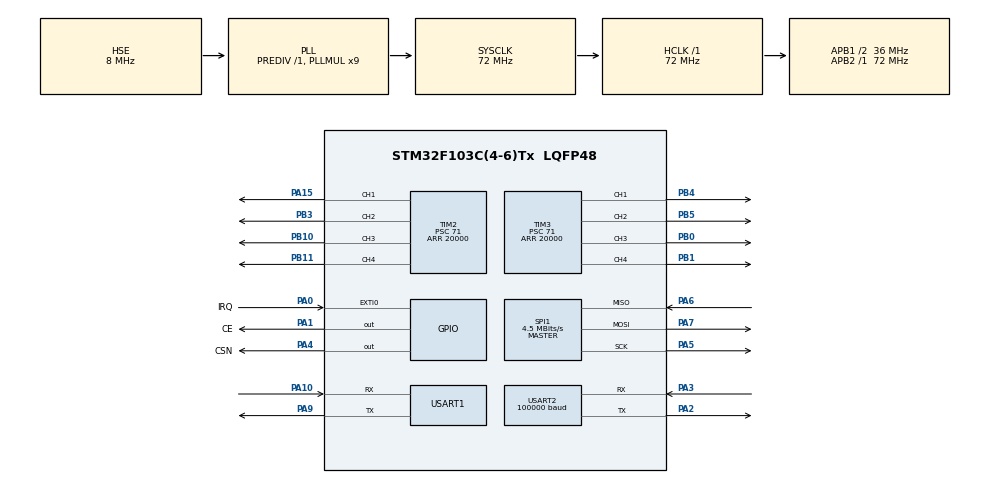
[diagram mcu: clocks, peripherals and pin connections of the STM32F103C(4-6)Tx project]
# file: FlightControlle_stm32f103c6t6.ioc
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Dma.Request0=USART2_RX
Dma.Request1=USART1_RX
Dma.Request2=USART1_TX
Dma.USART1_RX.1.Direction=DMA_PERIPH_TO_MEMORY
Dma.USART1_RX.1.Instance=DMA1_Channel5
Dma.USART1_RX.1.MemDataAlignment=DMA_MDATAALIGN_BYTE
Dma.USART1_RX.1.MemInc=DMA_MINC_ENABLE
Dma.USART1_RX.1.Mode=DMA_NORMAL
Dma.USART1_RX.1.PeriphDataAlignment=DMA_PDATAALIGN_BYTE
Dma.USART1_RX.1.PeriphInc=DMA_PINC_DISABLE
Dma.USART1_RX.1.Priority=DMA_PRIORITY_LOW
Dma.USART1_TX.2.Direction=DMA_MEMORY_TO_PERIPH
Dma.USART1_TX.2.Instance=DMA1_Channel4
Dma.USART1_TX.2.MemDataAlignment=DMA_MDATAALIGN_BYTE
Dma.USART1_TX.2.MemInc=DMA_MINC_ENABLE
Dma.USART1_TX.2.Mode=DMA_NORMAL
Dma.USART1_TX.2.PeriphDataAlignment=DMA_PDATAALIGN_BYTE
Dma.USART1_TX.2.PeriphInc=DMA_PINC_DISABLE
Dma.USART1_TX.2.Priority=DMA_PRIORITY_LOW
Dma.USART2_RX.0.Direction=DMA_PERIPH_TO_MEMORY
Dma.USART2_RX.0.Instance=DMA1_Channel6
Dma.USART2_RX.0.MemDataAlignment=DMA_MDATAALIGN_BYTE
Dma.USART2_RX.0.MemInc=DMA_MINC_ENABLE
Dma.USART2_RX.0.Mode=DMA_CIRCULAR
Dma.USART2_RX.0.PeriphDataAlignment=DMA_PDATAALIGN_BYTE
Dma.USART2_RX.0.PeriphInc=DMA_PINC_DISABLE
Dma.USART2_RX.0.Priority=DMA_PRIORITY_LOW
Mcu.Family=STM32F1
Mcu.Name=STM32F103C(4-6)Tx
Mcu.Package=LQFP48
NVIC.DMA1_Channel4_IRQn=true\:0\:0\:false\:false\:true\:false\:true
NVIC.DMA1_Channel5_IRQn=true\:0\:0\:false\:false\:true\:false\:true
NVIC.DMA1_Channel6_IRQn=true\:0\:0\:false\:false\:true\:false\:true
NVIC.EXTI0_IRQn=true\:0\:0\:false\:false\:true\:true\:true
NVIC.PriorityGroup=NVIC_PRIORITYGROUP_4
NVIC.USART1_IRQn=true\:0\:0\:false\:false\:true\:true\:true
PA0-WKUP.GPIO_Label=IRQ
PA0-WKUP.GPIO_ModeDefaultEXTI=GPIO_MODE_IT_FALLING
PA0-WKUP.Signal=GPXTI0
PA1.GPIO_Label=CE
PA1.Signal=GPIO_Output
PA10.Mode=Asynchronous
PA10.Signal=USART1_RX
PA13.Mode=Serial_Wire
PA13.Signal=SYS_JTMS-SWDIO
PA14.Mode=Serial_Wire
PA14.Signal=SYS_JTCK-SWCLK
PA15.Signal=S_TIM2_CH1_ETR
PA2.Mode=Asynchronous
PA2.Signal=USART2_TX
PA3.Mode=Asynchronous
PA3.Signal=USART2_RX
PA4.GPIO_Label=CSN
PA4.Signal=GPIO_Output
PA5.Mode=Full_Duplex_Master
PA5.Signal=SPI1_SCK
PA6.Mode=Full_Duplex_Master
PA6.Signal=SPI1_MISO
PA7.Mode=Full_Duplex_Master
PA7.Signal=SPI1_MOSI
PA9.Mode=Asynchronous
PA9.Signal=USART1_TX
PB0.Signal=S_TIM3_CH3
PB1.Signal=S_TIM3_CH4
PB10.Signal=S_TIM2_CH3
PB11.Signal=S_TIM2_CH4
PB3.Signal=S_TIM2_CH2
PB4.Signal=S_TIM3_CH1
PB5.Signal=S_TIM3_CH2
PD0-OSC_IN.Mode=HSE-External-Oscillator
PD0-OSC_IN.Signal=RCC_OSC_IN
PD1-OSC_OUT.Mode=HSE-External-Oscillator
PD1-OSC_OUT.Signal=RCC_OSC_OUT
ProjectManager.HeapSize=0x200
ProjectManager.StackSize=0x400
ProjectManager.TargetToolchain=STM32CubeIDE
RCC.AHBFreq_Value=72000000
RCC.APB1CLKDivider=RCC_HCLK_DIV2
RCC.APB1Freq_Value=36000000
RCC.APB1TimFreq_Value=72000000
RCC.APB2Freq_Value=72000000
RCC.APB2TimFreq_Value=72000000
RCC.HCLKFreq_Value=72000000
RCC.PLLMUL=RCC_PLL_MUL9
RCC.PLLSourceVirtual=RCC_PLLSOURCE_HSE
RCC.SYSCLKFreq_VALUE=72000000
RCC.SYSCLKSource=RCC_SYSCLKSOURCE_PLLCLK
RCC.USBFreq_Value=72000000
SH.S_TIM2_CH1_ETR.0=TIM2_CH1,PWM Generation1 CH1
SH.S_TIM2_CH2.0=TIM2_CH2,PWM Generation2 CH2
SH.S_TIM2_CH3.0=TIM2_CH3,PWM Generation3 CH3
SH.S_TIM2_CH4.0=TIM2_CH4,PWM Generation4 CH4
SH.S_TIM3_CH1.0=TIM3_CH1,PWM Generation1 CH1
SH.S_TIM3_CH2.0=TIM3_CH2,PWM Generation2 CH2
SH.S_TIM3_CH3.0=TIM3_CH3,PWM Generation3 CH3
SH.S_TIM3_CH4.0=TIM3_CH4,PWM Generation4 CH4
SPI1.BaudRatePrescaler=SPI_BAUDRATEPRESCALER_16
SPI1.CalculateBaudRate=4.5 MBits/s
SPI1.Direction=SPI_DIRECTION_2LINES
SPI1.Mode=SPI_MODE_MASTER
SPI1.VirtualType=VM_MASTER
TIM2.Channel-PWM\ Generation1\ CH1=TIM_CHANNEL_1
TIM2.Channel-PWM\ Generation2\ CH2=TIM_CHANNEL_2
TIM2.Channel-PWM\ Generation3\ CH3=TIM_CHANNEL_3
TIM2.Channel-PWM\ Generation4\ CH4=TIM_CHANNEL_4
TIM2.Period=20000
TIM2.Prescaler=71
TIM2.Pulse-PWM\ Generation1\ CH1=1500
TIM2.Pulse-PWM\ Generation2\ CH2=1500
TIM2.Pulse-PWM\ Generation3\ CH3=1500
TIM2.Pulse-PWM\ Generation4\ CH4=1500
TIM3.Channel-PWM\ Generation1\ CH1=TIM_CHANNEL_1
TIM3.Channel-PWM\ Generation2\ CH2=TIM_CHANNEL_2
TIM3.Channel-PWM\ Generation3\ CH3=TIM_CHANNEL_3
TIM3.Channel-PWM\ Generation4\ CH4=TIM_CHANNEL_4
TIM3.Period=20000
TIM3.Prescaler=71
TIM3.Pulse-PWM\ Generation1\ CH1=1500
TIM3.Pulse-PWM\ Generation2\ CH2=1500
TIM3.Pulse-PWM\ Generation3\ CH3=1500
TIM3.Pulse-PWM\ Generation4\ CH4=1500
USART1.VirtualMode=VM_ASYNC
USART2.BaudRate=100000
USART2.Mode=MODE_RX
USART2.Parity=PARITY_EVEN
USART2.StopBits=STOPBITS_2
USART2.VirtualMode=VM_ASYNC
board=custom

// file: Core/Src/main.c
/* USER CODE BEGIN Header */
/**
 ******************************************************************************
 * @file           : main.c
 * @brief          : Main program body
 ******************************************************************************
 * @attention
 *
 * Copyright (c) 2022 STMicroelectronics.
 * All rights reserved.
 *
 * This software is licensed under terms that can be found in the LICENSE file
 * in the root directory of this software component.
 * If no LICENSE file comes with this software, it is provided AS-IS.
 *
 ******************************************************************************
 */
/* USER CODE END Header */
#include "main.h"

/* USER CODE BEGIN Includes */
#include <string.h>
#include <stdio.h>
#include "SBUS.h"
#include "RF24.h"
/* USER CODE END Includes */

/* USER CODE BEGIN PTD */
struct {
	uint16_t Pitch_PWM;
	uint16_t Roll_PWM;
} RecieveStruct;

/* USER CODE END PTD */

SPI_HandleTypeDef hspi1;

TIM_HandleTypeDef htim2;
TIM_HandleTypeDef htim3;

UART_HandleTypeDef huart1;
UART_HandleTypeDef huart2;
DMA_HandleTypeDef hdma_usart1_rx;
DMA_HandleTypeDef hdma_usart1_tx;
DMA_HandleTypeDef hdma_usart2_rx;

/* USER CODE BEGIN PV */

_Bool controlMode = 0;

char outbuf[30] = { 0, };
uint32_t time = 0;

uint16_t failsafe_status;
uint8_t buf[25];
uint16_t CH[18];
uint32_t sbus_packet_time = 0;

uint8_t remsg = 0;
uint8_t nrf_data[32] = { 0, }; // буфер указываем максимального размера
uint8_t count_payload;

uint8_t uart_mode = 0;

/* USER CODE END PV */

void SystemClock_Config(void);
static void MX_GPIO_Init(void);
static void MX_DMA_Init(void);
static void MX_USART1_UART_Init(void);
static void MX_USART2_UART_Init(void);
static void MX_SPI1_Init(void);
static void MX_TIM2_Init(void);
static void MX_TIM3_Init(void);

/* USER CODE BEGIN 0 */

void HAL_UART_RxCpltCallback(UART_HandleTypeDef *huart) {

	if (huart == &huart2) {
		failsafe_status = CalculateSBUS(buf, CH);
		sbus_packet_time = HAL_GetTick();

		/*Decide manual/autopilot*/
		if (CH[4] > 1300) {
			controlMode = 1;
		} else {
			controlMode = 0;
		}
	}
	if (huart == &huart1) {
		uint8_t ack[32] = {0, };
		switch(uart_mode){
		case 1:
			HAL_UART_Transmit_DMA(&huart1, nrf_data, 32);
			uart_mode = 0;
			break;
		default:
			ack[0] = 4;
		HAL_UART_Transmit_DMA(&huart1, ack, 32);
		break;
		}

	}

}

void HAL_UART_TxCpltCallback(UART_HandleTypeDef *huart) {
	if (huart == &huart1) {
		HAL_UART_Receive_DMA(&huart1, &RecieveStruct, sizeof(RecieveStruct));
	}
}

/* USER CODE END 0 */

int main(void)
{

  /* MCU Configuration--------------------------------------------------------*/

  /* Reset of all peripherals, Initializes the Flash interface and the Systick. */
  HAL_Init();

  /* Configure the system clock */
  SystemClock_Config();

  /* Initialize all configured peripherals */
  MX_GPIO_Init();
  MX_DMA_Init();
  MX_USART1_UART_Init();
  MX_USART2_UART_Init();
  MX_SPI1_Init();
  MX_TIM2_Init();
  MX_TIM3_Init();
  /* USER CODE BEGIN 2 */
	HAL_UART_Receive_DMA(&huart2, buf, 25);

	HAL_UART_Receive_DMA(&huart1, &RecieveStruct, sizeof(RecieveStruct));

	HAL_TIM_PWM_Start(&htim2, TIM_CHANNEL_1);
	HAL_TIM_PWM_Start(&htim2, TIM_CHANNEL_2);
	HAL_TIM_PWM_Start(&htim2, TIM_CHANNEL_3);
	HAL_TIM_PWM_Start(&htim2, TIM_CHANNEL_4);

	HAL_TIM_PWM_Start(&htim3, TIM_CHANNEL_1);
	HAL_TIM_PWM_Start(&htim3, TIM_CHANNEL_2);
	HAL_TIM_PWM_Start(&htim3, TIM_CHANNEL_3);
	HAL_TIM_PWM_Start(&htim3, TIM_CHANNEL_4);

	DWT_Init(); // счётчик для микросекундных пауз

	const uint64_t pipe1 = 0xE8E8F0F0E2LL;

	uint8_t res = isChipConnected(); // проверяет подключён ли модуль к SPI

	char str[64] = { 0, };
	snprintf(str, 64, "Connected: %s\n", 1 ? "OK" : "NOT OK");
	HAL_UART_Transmit_IT(&huart1, (uint8_t*) str, strlen(str));

	res = NRF_Init(); // инициализация

	snprintf(str, 64, "Init: %s\n", res > 0 && res < 255 ? "OK" : "NOT OK");
	HAL_UART_Transmit_IT(&huart1, (uint8_t*) str, strlen(str));

	/****************** NRF Settings ****************************/
	enableAckPayload();
	//setAutoAck(false);
	//setPayloadSize(6);
	setChannel(19);
	openReadingPipe(1, pipe1);
	startListening();
	/***********************************************************/
  /* USER CODE END 2 */

  /* Infinite loop */
  /* USER CODE BEGIN WHILE */
	while (1) {

		if(HAL_GetTick() - sbus_packet_time > 500 || failsafe_status == SBUS_SIGNAL_LOST || failsafe_status == SBUS_SIGNAL_FAILSAFE){
			HAL_UART_Receive_DMA(&huart2, buf, 25);
		}

		/*Timer/chennel pinout*/
		/*
		 * TIM2->CCR1 CH0
		 * TIM2->CCR2 CH1
		 * TIM3->CCR1 CH2
		 * TIM3->CCR2 CH3
		 * TIM2->CCR4 CH4
		 * TIM2->CCR3 CH5
		 * TIM3->CCR4 CH6
		 * TIM3->CCR3 CH7
		 */
		if(failsafe_status == SBUS_SIGNAL_OK)
		if (!controlMode) {
			/*Manual control*/
			TIM2->CCR1 = sbus_to_pwm(CH[0]); //Aile
			TIM2->CCR2 = sbus_to_pwm(CH[1]); //Alev
			TIM3->CCR1 = sbus_to_pwm(CH[2]); //Throttle
			TIM3->CCR2 = sbus_to_pwm(CH[3]); //Ruder
			TIM2->CCR3 = sbus_to_pwm(CH[0]); //Aile
		} else {
			/*Autopilot*/
			if(CH[6] < 500){
				TIM2->CCR1 = RecieveStruct.Roll_PWM;
				TIM2->CCR2 = sbus_to_pwm(CH[1]);
				TIM3->CCR1 = sbus_to_pwm(CH[2]);
				TIM3->CCR2 = sbus_to_pwm(CH[3]);
				TIM2->CCR3 = RecieveStruct.Roll_PWM; //Aile
			}
			else{
				if(CH[6] < 1200){
					TIM2->CCR1 = sbus_to_pwm(CH[0]);
					TIM2->CCR2 = RecieveStruct.Pitch_PWM;
					TIM3->CCR1 = sbus_to_pwm(CH[2]);
					TIM3->CCR2 = sbus_to_pwm(CH[3]);
					TIM2->CCR3 = sbus_to_pwm(CH[0]); //Aile
				}
				else{
					TIM2->CCR1 = RecieveStruct.Roll_PWM;
					TIM2->CCR2 = RecieveStruct.Pitch_PWM;
					TIM3->CCR1 = sbus_to_pwm(CH[2]);
					TIM3->CCR2 = sbus_to_pwm(CH[3]);
					TIM2->CCR3 = RecieveStruct.Roll_PWM; //Aile
				}
			}
		}

		/************************************ Receive NRF ********************************************/

		uint8_t pipe_num = 0;

		if (available(&pipe_num)) // проверяем пришло ли что-то
				{

			writeAckPayload(pipe_num, &remsg, sizeof(remsg)); // отправляем полезную нагрузку вместе с подтверждением

			if (pipe_num == 1) {

				count_payload = getDynamicPayloadSize(); // смотрим сколько байт прилетело

				read(&nrf_data, count_payload); // Читаем данные в массив nrf_data и указываем сколько байт читать

				if(nrf_data[0] == 2 || nrf_data[0] == 3 || nrf_data[0] == 5){
					remsg = 7;
					uart_mode = 1;
				}
			}

		}

    /* USER CODE END WHILE */

	}
}

void SystemClock_Config(void)
{
  RCC_OscInitTypeDef RCC_OscInitStruct = {0};
  RCC_ClkInitTypeDef RCC_ClkInitStruct = {0};

  /** Initializes the RCC Oscillators according to the specified parameters
  * in the RCC_OscInitTypeDef structure.
  */
  RCC_OscInitStruct.OscillatorType = RCC_OSCILLATORTYPE_HSE;
  RCC_OscInitStruct.HSEState = RCC_HSE_ON;
  RCC_OscInitStruct.HSEPredivValue = RCC_HSE_PREDIV_DIV1;
  RCC_OscInitStruct.HSIState = RCC_HSI_ON;
  RCC_OscInitStruct.PLL.PLLState = RCC_PLL_ON;
  RCC_OscInitStruct.PLL.PLLSource = RCC_PLLSOURCE_HSE;
  RCC_OscInitStruct.PLL.PLLMUL = RCC_PLL_MUL9;
  if (HAL_RCC_OscConfig(&RCC_OscInitStruct) != HAL_OK)
  {
    Error_Handler();
  }
  /** Initializes the CPU, AHB and APB buses clocks
  */
  RCC_ClkInitStruct.ClockType = RCC_CLOCKTYPE_HCLK|RCC_CLOCKTYPE_SYSCLK
                              |RCC_CLOCKTYPE_PCLK1|RCC_CLOCKTYPE_PCLK2;
  RCC_ClkInitStruct.SYSCLKSource = RCC_SYSCLKSOURCE_PLLCLK;
  RCC_ClkInitStruct.AHBCLKDivider = RCC_SYSCLK_DIV1;
  RCC_ClkInitStruct.APB1CLKDivider = RCC_HCLK_DIV2;
  RCC_ClkInitStruct.APB2CLKDivider = RCC_HCLK_DIV1;

  if (HAL_RCC_ClockConfig(&RCC_ClkInitStruct, FLASH_LATENCY_2) != HAL_OK)
  {
    Error_Handler();
  }
}

static void MX_SPI1_Init(void)
{

  /* SPI1 parameter configuration*/
  hspi1.Instance = SPI1;
  hspi1.Init.Mode = SPI_MODE_MASTER;
  hspi1.Init.Direction = SPI_DIRECTION_2LINES;
  hspi1.Init.DataSize = SPI_DATASIZE_8BIT;
  hspi1.Init.CLKPolarity = SPI_POLARITY_LOW;
  hspi1.Init.CLKPhase = SPI_PHASE_1EDGE;
  hspi1.Init.NSS = SPI_NSS_SOFT;
  hspi1.Init.BaudRatePrescaler = SPI_BAUDRATEPRESCALER_16;
  hspi1.Init.FirstBit = SPI_FIRSTBIT_MSB;
  hspi1.Init.TIMode = SPI_TIMODE_DISABLE;
  hspi1.Init.CRCCalculation = SPI_CRCCALCULATION_DISABLE;
  hspi1.Init.CRCPolynomial = 10;
  if (HAL_SPI_Init(&hspi1) != HAL_OK)
  {
    Error_Handler();
  }

}

static void MX_TIM2_Init(void)
{

  TIM_MasterConfigTypeDef sMasterConfig = {0};
  TIM_OC_InitTypeDef sConfigOC = {0};

  htim2.Instance = TIM2;
  htim2.Init.Prescaler = 71;
  htim2.Init.CounterMode = TIM_COUNTERMODE_UP;
  htim2.Init.Period = 20000;
  htim2.Init.ClockDivision = TIM_CLOCKDIVISION_DIV1;
  htim2.Init.AutoReloadPreload = TIM_AUTORELOAD_PRELOAD_DISABLE;
  if (HAL_TIM_PWM_Init(&htim2) != HAL_OK)
  {
    Error_Handler();
  }
  sMasterConfig.MasterOutputTrigger = TIM_TRGO_RESET;
  sMasterConfig.MasterSlaveMode = TIM_MASTERSLAVEMODE_DISABLE;
  if (HAL_TIMEx_MasterConfigSynchronization(&htim2, &sMasterConfig) != HAL_OK)
  {
    Error_Handler();
  }
  sConfigOC.OCMode = TIM_OCMODE_PWM1;
  sConfigOC.Pulse = 1500;
  sConfigOC.OCPolarity = TIM_OCPOLARITY_HIGH;
  sConfigOC.OCFastMode = TIM_OCFAST_DISABLE;
  if (HAL_TIM_PWM_ConfigChannel(&htim2, &sConfigOC, TIM_CHANNEL_1) != HAL_OK)
  {
    Error_Handler();
  }
  if (HAL_TIM_PWM_ConfigChannel(&htim2, &sConfigOC, TIM_CHANNEL_2) != HAL_OK)
  {
    Error_Handler();
  }
  if (HAL_TIM_PWM_ConfigChannel(&htim2, &sConfigOC, TIM_CHANNEL_3) != HAL_OK)
  {
    Error_Handler();
  }
  if (HAL_TIM_PWM_ConfigChannel(&htim2, &sConfigOC, TIM_CHANNEL_4) != HAL_OK)
  {
    Error_Handler();
  }
  HAL_TIM_MspPostInit(&htim2);

}

static void MX_TIM3_Init(void)
{

  TIM_MasterConfigTypeDef sMasterConfig = {0};
  TIM_OC_InitTypeDef sConfigOC = {0};

  htim3.Instance = TIM3;
  htim3.Init.Prescaler = 71;
  htim3.Init.CounterMode = TIM_COUNTERMODE_UP;
  htim3.Init.Period = 20000;
  htim3.Init.ClockDivision = TIM_CLOCKDIVISION_DIV1;
  htim3.Init.AutoReloadPreload = TIM_AUTORELOAD_PRELOAD_DISABLE;
  if (HAL_TIM_PWM_Init(&htim3) != HAL_OK)
  {
    Error_Handler();
  }
  sMasterConfig.MasterOutputTrigger = TIM_TRGO_RESET;
  sMasterConfig.MasterSlaveMode = TIM_MASTERSLAVEMODE_DISABLE;
  if (HAL_TIMEx_MasterConfigSynchronization(&htim3, &sMasterConfig) != HAL_OK)
  {
    Error_Handler();
  }
  sConfigOC.OCMode = TIM_OCMODE_PWM1;
  sConfigOC.Pulse = 1500;
  sConfigOC.OCPolarity = TIM_OCPOLARITY_HIGH;
  sConfigOC.OCFastMode = TIM_OCFAST_DISABLE;
  if (HAL_TIM_PWM_ConfigChannel(&htim3, &sConfigOC, TIM_CHANNEL_1) != HAL_OK)
  {
    Error_Handler();
  }
  if (HAL_TIM_PWM_ConfigChannel(&htim3, &sConfigOC, TIM_CHANNEL_2) != HAL_OK)
  {
    Error_Handler();
  }
  if (HAL_TIM_PWM_ConfigChannel(&htim3, &sConfigOC, TIM_CHANNEL_3) != HAL_OK)
  {
    Error_Handler();
  }
  if (HAL_TIM_PWM_ConfigChannel(&htim3, &sConfigOC, TIM_CHANNEL_4) != HAL_OK)
  {
    Error_Handler();
  }
  HAL_TIM_MspPostInit(&htim3);

}

static void MX_USART1_UART_Init(void)
{

  huart1.Instance = USART1;
  huart1.Init.BaudRate = 115200;
  huart1.Init.WordLength = UART_WORDLENGTH_8B;
  huart1.Init.StopBits = UART_STOPBITS_1;
  huart1.Init.Parity = UART_PARITY_NONE;
  huart1.Init.Mode = UART_MODE_TX_RX;
  huart1.Init.HwFlowCtl = UART_HWCONTROL_NONE;
  huart1.Init.OverSampling = UART_OVERSAMPLING_16;
  if (HAL_UART_Init(&huart1) != HAL_OK)
  {
    Error_Handler();
  }

}

static void MX_USART2_UART_Init(void)
{

  huart2.Instance = USART2;
  huart2.Init.BaudRate = 100000;
  huart2.Init.WordLength = UART_WORDLENGTH_8B;
  huart2.Init.StopBits = UART_STOPBITS_2;
  huart2.Init.Parity = UART_PARITY_EVEN;
  huart2.Init.Mode = UART_MODE_RX;
  huart2.Init.HwFlowCtl = UART_HWCONTROL_NONE;
  huart2.Init.OverSampling = UART_OVERSAMPLING_16;
  if (HAL_UART_Init(&huart2) != HAL_OK)
  {
    Error_Handler();
  }

}

static void MX_DMA_Init(void)
{

  /* DMA controller clock enable */
  __HAL_RCC_DMA1_CLK_ENABLE();

  /* DMA interrupt init */
  /* DMA1_Channel4_IRQn interrupt configuration */
  HAL_NVIC_SetPriority(DMA1_Channel4_IRQn, 0, 0);
  HAL_NVIC_EnableIRQ(DMA1_Channel4_IRQn);
  /* DMA1_Channel5_IRQn interrupt configuration */
  HAL_NVIC_SetPriority(DMA1_Channel5_IRQn, 0, 0);
  HAL_NVIC_EnableIRQ(DMA1_Channel5_IRQn);
  /* DMA1_Channel6_IRQn interrupt configuration */
  HAL_NVIC_SetPriority(DMA1_Channel6_IRQn, 0, 0);
  HAL_NVIC_EnableIRQ(DMA1_Channel6_IRQn);

}

static void MX_GPIO_Init(void)
{
  GPIO_InitTypeDef GPIO_InitStruct = {0};

  /* GPIO Ports Clock Enable */
  __HAL_RCC_GPIOD_CLK_ENABLE();
  __HAL_RCC_GPIOA_CLK_ENABLE();
  __HAL_RCC_GPIOB_CLK_ENABLE();

  /*Configure GPIO pin Output Level */
  HAL_GPIO_WritePin(GPIOA, CE_Pin|CSN_Pin, GPIO_PIN_RESET);

  /*Configure GPIO pin : IRQ_Pin */
  GPIO_InitStruct.Pin = IRQ_Pin;
  GPIO_InitStruct.Mode = GPIO_MODE_IT_FALLING;
  GPIO_InitStruct.Pull = GPIO_NOPULL;
  HAL_GPIO_Init(IRQ_GPIO_Port, &GPIO_InitStruct);

  /*Configure GPIO pins : CE_Pin CSN_Pin */
  GPIO_InitStruct.Pin = CE_Pin|CSN_Pin;
  GPIO_InitStruct.Mode = GPIO_MODE_OUTPUT_PP;
  GPIO_InitStruct.Pull = GPIO_NOPULL;
  GPIO_InitStruct.Speed = GPIO_SPEED_FREQ_LOW;
  HAL_GPIO_Init(GPIOA, &GPIO_InitStruct);

  /* EXTI interrupt init*/
  HAL_NVIC_SetPriority(EXTI0_IRQn, 0, 0);
  HAL_NVIC_EnableIRQ(EXTI0_IRQn);

}

void Error_Handler(void)
{
	__disable_irq();
	while (1) {
	}
}
